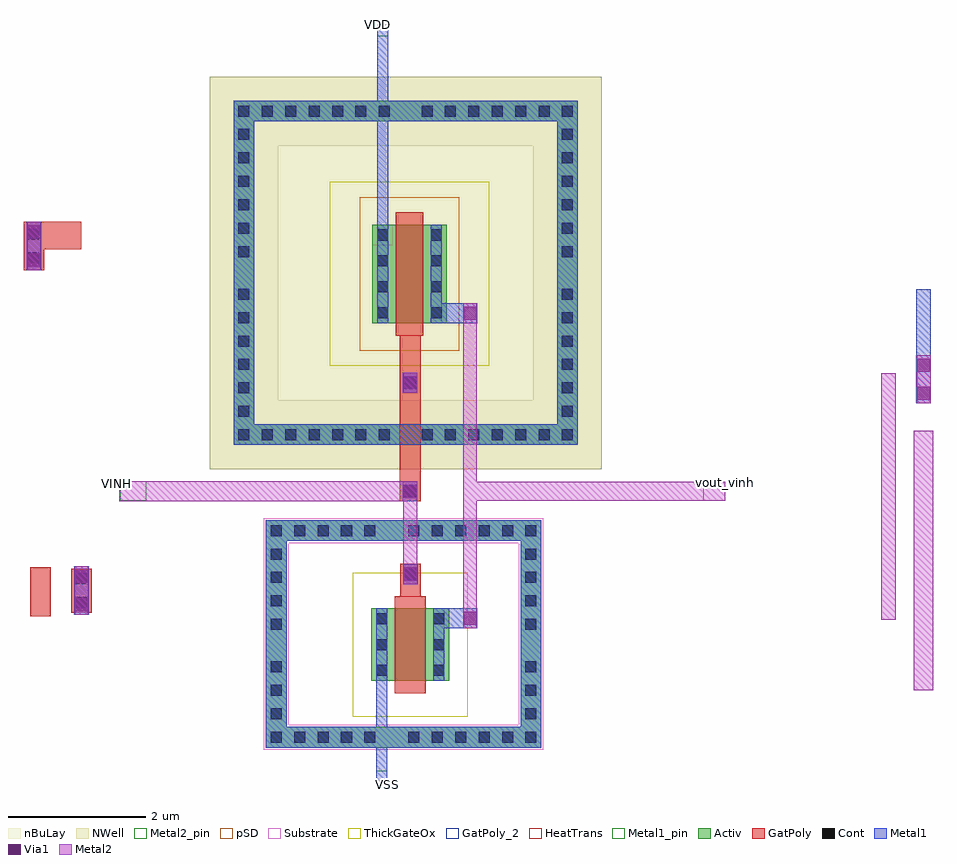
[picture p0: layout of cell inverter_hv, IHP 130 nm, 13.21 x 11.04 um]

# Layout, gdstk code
from math import pi, radians
import gdstk
lib = gdstk.Library(unit=1e-6, precision=5e-09)
def R(c, l, rs):  # rectangles x0, y0, x1, y1
    for r in rs: c.add(gdstk.rectangle(r[:2], r[2:], *l))
def A(c, l, x, y, w, h, nx, ny, dx, dy):  # array of equal rectangles
    R(c, l, [(x+i*dx, y+j*dy, x+i*dx+w, y+j*dy+h) for i in range(nx) for j in range(ny)])
def P(c, l, *ps):  # polygons
    for p in ps: c.add(gdstk.Polygon(p, *l))
Activ = (1, 0)
GatPoly = (5, 0)
GatPoly_2 = (5, 2)
Cont = (6, 0)
Metal1 = (8, 0)
Metal1_pin = (8, 2)
Metal2 = (10, 0)
Metal2_pin = (10, 2)
pSD = (14, 0)
Via1 = (19, 0)
NWell = (31, 0)
nBuLay = (32, 0)
Substrate = (40, 0)
ThickGateOx = (44, 0)
HeatTrans = (51, 0)

pmoshv = lib.new_cell('pmosHV')
R(pmoshv, Activ, [(0,0,0.3,0.3), (0,0,1.08,1.43), (0.78,0,1.08,0.3)])
R(pmoshv, GatPoly, [(0.34,-0.18,0.74,1.61)])
R(pmoshv, GatPoly_2, [(0.34,-0.18,0.74,1.61)])
A(pmoshv, Cont, 0.07, 0.07, 0.16, 0.16, 1, 3, 0, 0.375)
A(pmoshv, Cont, 0.85, 0.07, 0.16, 0.16, 1, 3, 0, 0.375)
R(pmoshv, Cont, [(0.07,1.2,0.23,1.36), (0.85,1.2,1.01,1.36)])
R(pmoshv, Metal1, [(0.07,0,0.23,1.43), (0.85,0,1.01,1.43)])
R(pmoshv, Metal1_pin, [(0.07,0,0.23,1.43), (0.85,0,1.01,1.43)])
R(pmoshv, pSD, [(-0.18,-0.4,1.26,1.83)])
R(pmoshv, NWell, [(-0.62,-0.62,1.7,2.05)])
R(pmoshv, Substrate, [(0.78,0,1.08,0.3)])
R(pmoshv, ThickGateOx, [(-0.62,-0.62,1.7,2.05)])
R(pmoshv, HeatTrans, [(0.34,-0.18,0.74,1.61)])
pmoshv.add(gdstk.Label('pmosHV', (0.54,0.715), layer=63, texttype=0))
pmoshv.add(gdstk.Label('pmos', (0.54,0.715), layer=51, texttype=0))

nmoshv = lib.new_cell('nmosHV')
R(nmoshv, Activ, [(0,0,0.3,0.3), (0,0,1.13,1.05), (0.83,0,1.13,0.3)])
R(nmoshv, GatPoly, [(0.34,-0.18,0.79,1.23)])
R(nmoshv, GatPoly_2, [(0.34,-0.18,0.79,1.23)])
A(nmoshv, Cont, 0.07, 0.07, 0.16, 0.16, 1, 3, 0, 0.375)
A(nmoshv, Cont, 0.9, 0.07, 0.16, 0.16, 1, 3, 0, 0.375)
R(nmoshv, Metal1, [(0.07,0,0.23,1.05), (0.9,0,1.06,1.05)])
R(nmoshv, Metal1_pin, [(0.07,0,0.23,1.05), (0.9,0,1.06,1.05)])
R(nmoshv, ThickGateOx, [(-0.27,-0.52,1.4,1.57)])
R(nmoshv, HeatTrans, [(0.34,-0.18,0.79,1.23)])
nmoshv.add(gdstk.Label('nmosHV', (0.565,0.525), layer=63, texttype=0))
nmoshv.add(gdstk.Label('nmosHV', (0.565,0.525), layer=51, texttype=0))

guard_ring_4 = lib.new_cell('guard_ring$4')
R(guard_ring_4, Activ, [(-2.5,-2.2,-2.2,2.2), (2.2,-2.2,2.5,2.2), (-2.5,2.2,2.5,2.5)])
P(guard_ring_4, Activ, [(-2.5,-2.5),(-2.5,2.2),(-2.2,2.2),(-2.2,-2.2),(2.2,-2.2),(2.2,2.2),(-2.5,2.2),(-2.5,2.5),(2.5,2.5),(2.5,-2.5)])
A(guard_ring_4, Cont, -2.43, -2.43, 0.16, 0.16, 7, 2, 0.34, 4.7)
A(guard_ring_4, Cont, 0.23, -2.43, 0.16, 0.16, 7, 2, 0.34, 4.7)
A(guard_ring_4, Cont, -2.43, -2.09, 0.16, 0.16, 1, 6, 0, 0.34)
A(guard_ring_4, Cont, 2.27, -2.09, 0.16, 0.16, 1, 6, 0, 0.34)
A(guard_ring_4, Cont, -2.43, 0.23, 0.16, 0.16, 1, 6, 0, 0.34)
A(guard_ring_4, Cont, 2.27, 0.23, 0.16, 0.16, 1, 6, 0, 0.34)
R(guard_ring_4, Metal1, [(-2.5,-2.5,2.5,-2.2), (-2.5,-2.2,-2.2,2.2), (2.2,-2.2,2.5,2.2), (-2.5,2.2,2.5,2.5)])
R(guard_ring_4, NWell, [(-2.85,-2.85,2.85,2.85)])
R(guard_ring_4, nBuLay, [(-2.85,-1.85,-1.85,1.85), (1.85,-1.85,2.85,1.85), (-2.85,1.85,2.85,2.85)])
P(guard_ring_4, nBuLay, [(-2.85,-2.85),(-2.85,1.85),(-1.85,1.85),(-1.85,-1.85),(1.85,-1.85),(1.85,1.85),(-2.85,1.85),(-2.85,2.85),(2.85,2.85),(2.85,-2.85)])
guard_ring_4.add(gdstk.Label('well', (0,-2.35), layer=63, texttype=0))

via_stack_2 = lib.new_cell('via_stack$2')
R(via_stack_2, Metal1, [(-0.105,-0.35,0.105,0.35)])
R(via_stack_2, Metal2, [(-0.1,-0.35,0.1,0.35)])
R(via_stack_2, Via1, [(-0.095,-0.3,0.095,-0.11), (-0.095,0.11,0.095,0.3)])

via_stack_1 = lib.new_cell('via_stack$1')
R(via_stack_1, GatPoly, [(-0.15,-0.32,0.15,0.32)])
R(via_stack_1, Cont, [(-0.08,-0.25,0.08,-0.09), (-0.08,0.09,0.08,0.25)])
R(via_stack_1, Metal1, [(-0.105,-0.35,0.105,0.35)])
R(via_stack_1, Metal2, [(-0.1,-0.35,0.1,0.35)])
R(via_stack_1, Via1, [(-0.095,-0.3,0.095,-0.11), (-0.095,0.11,0.095,0.3)])

via_stack_4 = lib.new_cell('via_stack$4')
R(via_stack_4, GatPoly, [(-0.15,-0.15,0.15,0.15)])
R(via_stack_4, Cont, [(-0.08,-0.08,0.08,0.08)])
R(via_stack_4, Metal1, [(-0.145,-0.105,0.145,0.105)])
R(via_stack_4, Metal2, [(-0.145,-0.1,0.145,0.1)])
R(via_stack_4, Via1, [(-0.095,-0.095,0.095,0.095)])

guard_ring = lib.new_cell('guard_ring')
R(guard_ring, Activ, [(-2,-1.35,-1.7,1.35), (1.7,-1.35,2,1.35), (-2,1.35,2,1.65)])
P(guard_ring, Activ, [(-2,-1.65),(-2,1.35),(-1.7,1.35),(-1.7,-1.35),(1.7,-1.35),(1.7,1.35),(-2,1.35),(-2,1.65),(2,1.65),(2,-1.65)])
A(guard_ring, Cont, -1.93, -1.58, 0.16, 0.16, 5, 2, 0.34, 3)
A(guard_ring, Cont, 0.07, -1.58, 0.16, 0.16, 6, 2, 0.34, 3)
A(guard_ring, Cont, -1.93, -1.24, 0.16, 0.16, 1, 3, 0, 0.34)
A(guard_ring, Cont, 1.77, -1.24, 0.16, 0.16, 1, 3, 0, 0.34)
A(guard_ring, Cont, -1.93, 0.06, 0.16, 0.16, 1, 4, 0, 0.34)
A(guard_ring, Cont, 1.77, 0.06, 0.16, 0.16, 1, 4, 0, 0.34)
R(guard_ring, Metal1, [(-2,-1.65,2,-1.35), (-2,-1.35,-1.7,1.35), (1.7,-1.35,2,1.35), (-2,1.35,2,1.65)])
R(guard_ring, pSD, [(-2.03,-1.32,-1.67,1.32), (1.67,-1.32,2.03,1.32), (-2.03,1.32,2.03,1.68)])
P(guard_ring, pSD, [(-2.03,-1.68),(-2.03,1.32),(-1.67,1.32),(-1.67,-1.32),(1.67,-1.32),(1.67,1.32),(-2.03,1.32),(-2.03,1.68),(2.03,1.68),(2.03,-1.68)])
R(guard_ring, Substrate, [(-2.03,-1.32,-1.67,1.32), (1.67,-1.32,2.03,1.32), (-2.03,1.32,2.03,1.68)])
P(guard_ring, Substrate, [(-2.03,-1.68),(-2.03,1.32),(-1.67,1.32),(-1.67,-1.32),(1.67,-1.32),(1.67,1.32),(-2.03,1.32),(-2.03,1.68),(2.03,1.68),(2.03,-1.68)])
guard_ring.add(gdstk.Label('sub!', (0,-1.5), layer=63, texttype=0))

via_stack = lib.new_cell('via_stack')
R(via_stack, Metal1, [(-0.145,-0.105,0.145,0.105)])
R(via_stack, Metal2, [(-0.145,-0.1,0.145,0.1)])
R(via_stack, Via1, [(-0.095,-0.095,0.095,0.095)])

inverter_hv = lib.new_cell('inverter_hv')
R(inverter_hv, GatPoly, [(7.88,6.55,8.18,7.645), (2.505,6.885,2.805,7.59), (7.875,8.56,8.175,11.74), (2.41,11.91,2.71,12.61), (2.41,12.21,3.25,12.61)])
R(inverter_hv, Metal1, [(7.53,4.445,7.69,6.175), (8.36,6.705,9,6.995), (15.38,9.975,15.59,11.63), (8.325,11.14,9,11.43), (7.545,12.34,7.705,15.485)])
R(inverter_hv, Metal1_pin, [(7.53,4.445,7.69,4.64), (7.545,15.31,7.705,15.485)])
R(inverter_hv, Metal2, [(15.34,5.805,15.625,9.575), (8.795,6.705,8.995,11.3), (14.87,6.83,15.08,10.41), (7.925,7.35,8.125,8.845), (3.8,8.555,8.125,8.845), (8.795,8.56,12.6,8.835)])
R(inverter_hv, Metal2_pin, [(3.815,8.56,4.19,8.845), (12.28,8.56,12.6,8.835)])
inverter_hv.add(gdstk.Reference(pmoshv, (8.555,12.57), rotation=pi))
inverter_hv.add(gdstk.Reference(nmoshv, (8.59,6.995), rotation=pi))
inverter_hv.add(gdstk.Reference(guard_ring_4, (7.96,11.87)))
inverter_hv.add(gdstk.Reference(via_stack_2, (15.485,10.325)))
inverter_hv.add(gdstk.Reference(via_stack_1, (2.56,12.26)))
inverter_hv.add(gdstk.Reference(via_stack_1, (3.25,7.255)))
inverter_hv.add(gdstk.Reference(via_stack_4, (8.03,7.495), rotation=3*pi/2))
inverter_hv.add(gdstk.Reference(guard_ring, (7.93,6.625)))
inverter_hv.add(gdstk.Reference(via_stack_4, (8.025,10.275), rotation=3*pi/2))
inverter_hv.add(gdstk.Reference(via_stack_4, (8.025,8.7), rotation=3*pi/2))
inverter_hv.add(gdstk.Reference(via_stack, (8.895,11.285), rotation=3*pi/2))
inverter_hv.add(gdstk.Reference(via_stack, (8.895,6.85), rotation=3*pi/2))
inverter_hv.add(gdstk.Label('VDD', (7.545,15.485), layer=8, texttype=0))
inverter_hv.add(gdstk.Label('VSS', (7.695,4.445), layer=8, texttype=0))
inverter_hv.add(gdstk.Label('vout_vinh', (12.6,8.83), layer=10, texttype=0))
inverter_hv.add(gdstk.Label('VINH', (3.765,8.815), layer=10, texttype=0))

lib.write_gds('inverter_hv.gds')
